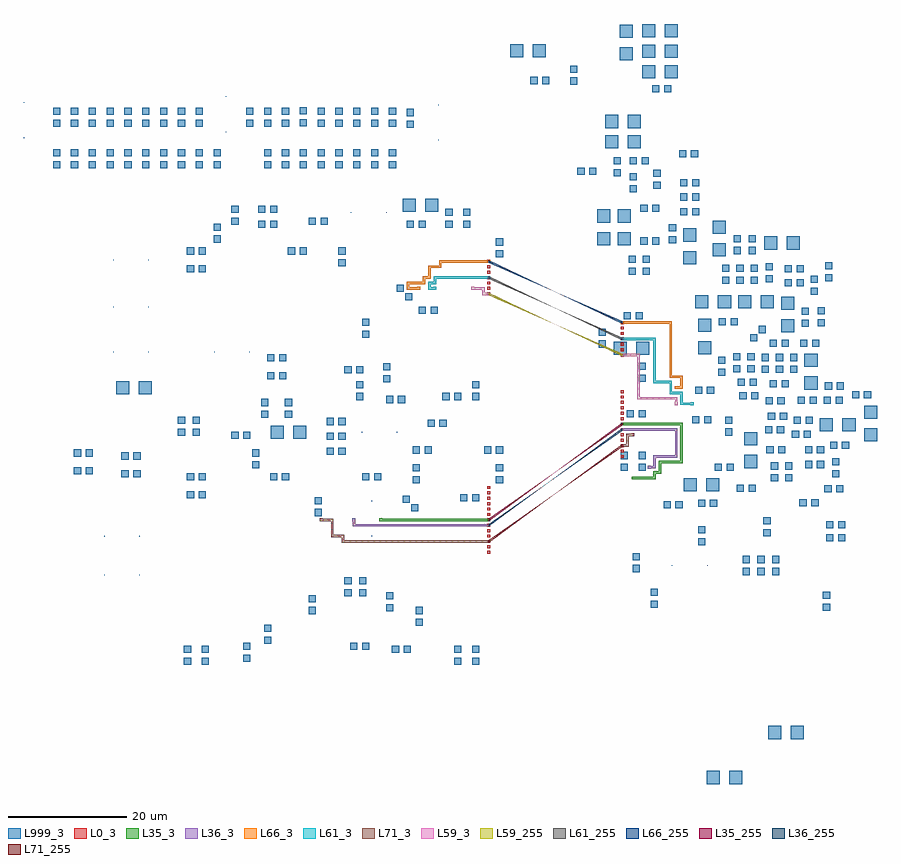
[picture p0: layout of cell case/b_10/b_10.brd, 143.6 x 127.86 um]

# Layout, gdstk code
import gdstk
lib = gdstk.Library(unit=1e-6, precision=2.5e-10)
def R(c, l, rs):  # rectangles x0, y0, x1, y1
    for r in rs: c.add(gdstk.rectangle(r[:2], r[2:], *l))
def A(c, l, x, y, w, h, nx, ny, dx, dy):  # array of equal rectangles
    R(c, l, [(x+i*dx, y+j*dy, x+i*dx+w, y+j*dy+h) for i in range(nx) for j in range(ny)])
def P(c, l, *ps):  # polygons
    for p in ps: c.add(gdstk.Polygon(p, *l))
L0_3 = (0, 3)
L35_3 = (35, 3)
L35_255 = (35, 255)
L36_3 = (36, 3)
L36_255 = (36, 255)
L59_3 = (59, 3)
L59_255 = (59, 255)
L61_3 = (61, 3)
L61_255 = (61, 255)
L66_3 = (66, 3)
L66_255 = (66, 255)
L71_3 = (71, 3)
L71_255 = (71, 255)
L999_3 = (999, 3)

case_b_10_b_10_brd = lib.new_cell('case/b_10/b_10.brd')
R(case_b_10_b_10_brd, L0_3, [(549.308,193.147,549.788,193.627), (549.308,193.147,549.788,193.627), (549.308,193.147,549.788,193.627), (549.308,194.056,549.788,194.536), (549.308,194.056,549.788,194.536), (549.308,194.056,549.788,194.536), (549.308,194.965,549.788,195.445), (549.308,194.965,549.788,195.445), (549.308,194.965,549.788,195.445), (549.308,195.874,549.788,196.354), (549.308,195.874,549.788,196.354), (549.308,195.874,549.788,196.354), (549.308,196.783,549.788,197.263), (549.308,196.783,549.788,197.263), (549.308,196.783,549.788,197.263), (549.308,197.692,549.788,198.172), (549.308,197.692,549.788,198.172), (549.308,197.692,549.788,198.172), (549.308,198.601,549.788,199.081), (549.308,198.601,549.788,199.081), (549.308,198.601,549.788,199.081), (549.308,199.51,549.788,199.99), (549.308,199.51,549.788,199.99), (549.308,199.51,549.788,199.99), (549.308,200.419,549.788,200.899), (549.308,200.419,549.788,200.899), (549.308,200.419,549.788,200.899), (549.308,201.328,549.788,201.808), (549.308,201.328,549.788,201.808), (549.308,201.328,549.788,201.808), (549.308,202.237,549.788,202.717), (549.308,202.237,549.788,202.717), (549.308,202.237,549.788,202.717), (549.308,203.146,549.788,203.626), (549.308,203.146,549.788,203.626), (549.308,203.146,549.788,203.626), (549.308,204.055,549.788,204.535), (549.308,204.055,549.788,204.535), (549.308,204.055,549.788,204.535), (571.728,209.267,572.208,209.747), (571.728,209.267,572.208,209.747), (571.728,209.267,572.208,209.747), (571.728,210.176,572.208,210.656), (571.728,210.176,572.208,210.656), (571.728,210.176,572.208,210.656), (571.728,211.085,572.208,211.565), (571.728,211.085,572.208,211.565), (571.728,211.085,572.208,211.565), (571.728,211.994,572.208,212.474), (571.728,211.994,572.208,212.474), (571.728,211.994,572.208,212.474), (571.728,212.903,572.208,213.383), (571.728,212.903,572.208,213.383), (571.728,212.903,572.208,213.383), (571.728,213.812,572.208,214.292), (571.728,213.812,572.208,214.292), (571.728,213.812,572.208,214.292), (571.728,214.721,572.208,215.201), (571.728,214.721,572.208,215.201), (571.728,214.721,572.208,215.201), (571.728,215.63,572.208,216.11), (571.728,215.63,572.208,216.11), (571.728,215.63,572.208,216.11), (571.728,216.539,572.208,217.019), (571.728,216.539,572.208,217.019), (571.728,216.539,572.208,217.019), (571.728,217.448,572.208,217.928), (571.728,217.448,572.208,217.928), (571.728,217.448,572.208,217.928), (571.728,218.357,572.208,218.837), (571.728,218.357,572.208,218.837), (571.728,218.357,572.208,218.837), (571.728,219.266,572.208,219.746), (571.728,219.266,572.208,219.746), (571.728,219.266,572.208,219.746), (571.728,220.175,572.208,220.655), (571.728,220.175,572.208,220.655), (571.728,220.175,572.208,220.655), (571.728,226.321,572.208,226.801), (571.728,226.321,572.208,226.801), (571.728,226.321,572.208,226.801), (571.728,227.23,572.208,227.71), (571.728,227.23,572.208,227.71), (571.728,227.23,572.208,227.71), (571.728,228.139,572.208,228.619), (571.728,228.139,572.208,228.619), (571.728,228.139,572.208,228.619), (571.728,229.048,572.208,229.528), (571.728,229.048,572.208,229.528), (571.728,229.048,572.208,229.528), (571.728,229.957,572.208,230.437), (571.728,229.957,572.208,230.437), (571.728,229.957,572.208,230.437), (571.728,230.866,572.208,231.346), (571.728,230.866,572.208,231.346), (571.728,230.866,572.208,231.346), (571.728,231.775,572.208,232.255), (571.728,231.775,572.208,232.255), (571.728,231.775,572.208,232.255), (549.308,236.627,549.788,237.107), (549.308,236.627,549.788,237.107), (549.308,236.627,549.788,237.107), (549.308,237.536,549.788,238.016), (549.308,237.536,549.788,238.016), (549.308,237.536,549.788,238.016), (549.308,238.445,549.788,238.925), (549.308,238.445,549.788,238.925), (549.308,238.445,549.788,238.925), (549.308,239.354,549.788,239.834), (549.308,239.354,549.788,239.834), (549.308,239.354,549.788,239.834), (549.308,240.263,549.788,240.743), (549.308,240.263,549.788,240.743), (549.308,240.263,549.788,240.743), (549.308,241.172,549.788,241.652), (549.308,241.172,549.788,241.652), (549.308,241.172,549.788,241.652), (549.308,242.081,549.788,242.561), (549.308,242.081,549.788,242.561), (549.308,242.081,549.788,242.561)])
A(case_b_10_b_10_brd, L35_3, 531.168, 198.641, 1.309, 0.4, 20, 1, 0.909, 0)
A(case_b_10_b_10_brd, L35_3, 573.586, 205.671, 1.309, 0.4, 4, 1, 0.909, 0)
A(case_b_10_b_10_brd, L35_3, 578.131, 208.398, 1.309, 0.4, 4, 1, 0.909, 0)
A(case_b_10_b_10_brd, L35_3, 581.767, 208.398, 0.4, 1.309, 1, 7, 0, 0.909)
A(case_b_10_b_10_brd, L35_3, 571.768, 214.761, 1.309, 0.4, 11, 1, 0.909, 0)
R(case_b_10_b_10_brd, L35_3, [(531.128,198.601,531.608,199.081), (573.546,205.631,574.026,206.111), (577.222,205.671,577.622,206.98), (577.222,206.58,578.531,206.98), (578.131,206.58,578.531,207.889), (578.131,207.489,578.531,208.798)])
P(case_b_10_b_10_brd, L35_255, [(571.968,214.761),(571.968,215.161),(549.548,198.641),(549.548,199.041)])
A(case_b_10_b_10_brd, L36_3, 526.623, 197.732, 1.309, 0.4, 25, 1, 0.909, 0)
A(case_b_10_b_10_brd, L36_3, 577.222, 209.307, 1.309, 0.4, 4, 1, 0.909, 0)
A(case_b_10_b_10_brd, L36_3, 580.858, 209.307, 0.4, 1.309, 1, 5, 0, 0.909)
A(case_b_10_b_10_brd, L36_3, 571.768, 213.852, 1.309, 0.4, 10, 1, 0.909, 0)
R(case_b_10_b_10_brd, L36_3, [(526.623,197.732,527.023,199.041), (526.583,198.601,527.063,199.081), (576.273,207.449,576.753,207.929), (576.313,207.489,577.622,207.889), (577.222,207.489,577.622,208.798), (577.222,208.398,577.622,209.707)])
P(case_b_10_b_10_brd, L36_255, [(571.968,213.852),(571.968,214.252),(549.548,197.732),(549.548,198.132)])
A(case_b_10_b_10_brd, L59_3, 574.495, 219.089, 1.309, 0.4, 7, 1, 0.909, 0)
A(case_b_10_b_10_brd, L59_3, 574.495, 219.089, 0.4, 1.309, 1, 8, 0, 0.909)
A(case_b_10_b_10_brd, L59_3, 571.768, 226.361, 1.309, 0.4, 3, 1, 0.909, 0)
R(case_b_10_b_10_brd, L59_3, [(580.818,218.14,581.298,218.62), (580.858,218.18,581.258,219.489), (548.439,236.667,549.748,237.067), (548.439,236.667,548.839,237.976), (546.581,237.536,547.061,238.016), (546.621,237.576,547.93,237.976), (547.53,237.576,548.839,237.976)])
P(case_b_10_b_10_brd, L59_255, [(571.968,226.361),(571.968,226.761),(549.548,236.667),(549.548,237.067)])
A(case_b_10_b_10_brd, L61_3, 577.222, 221.816, 1.309, 0.4, 3, 1, 0.909, 0)
A(case_b_10_b_10_brd, L61_3, 577.222, 221.816, 0.4, 1.309, 1, 8, 0, 0.909)
A(case_b_10_b_10_brd, L61_3, 571.768, 229.088, 1.309, 0.4, 6, 1, 0.909, 0)
A(case_b_10_b_10_brd, L61_3, 540.258, 239.394, 1.309, 0.4, 10, 1, 0.909, 0)
R(case_b_10_b_10_brd, L61_3, [(583.545,218.14,584.025,218.62), (581.767,218.18,583.076,218.58), (581.767,218.18,582.167,219.489), (582.676,218.18,583.985,218.58), (581.767,219.089,582.167,220.398), (579.949,219.998,581.258,220.398), (579.949,219.998,580.349,221.307), (580.858,219.998,582.167,220.398), (579.949,220.907,580.349,222.216), (540.218,237.536,540.698,238.016), (539.349,237.576,540.658,237.976), (539.349,237.576,539.749,238.885), (539.349,238.485,540.658,238.885), (540.258,238.485,540.658,239.794)])
P(case_b_10_b_10_brd, L61_255, [(571.968,229.088),(571.968,229.488),(549.548,239.394),(549.548,239.794)])
A(case_b_10_b_10_brd, L66_3, 579.949, 222.725, 0.4, 1.309, 1, 10, 0, 0.909)
A(case_b_10_b_10_brd, L66_3, 571.768, 231.815, 1.309, 0.4, 9, 1, 0.909, 0)
A(case_b_10_b_10_brd, L66_3, 535.713, 238.485, 1.309, 0.4, 3, 1, 0.909, 0)
A(case_b_10_b_10_brd, L66_3, 541.167, 242.121, 1.309, 0.4, 9, 1, 0.909, 0)
R(case_b_10_b_10_brd, L66_3, [(580.818,220.867,581.298,221.347), (580.858,220.907,582.167,221.307), (581.767,220.907,582.167,222.216), (581.767,221.816,582.167,223.125), (579.949,222.725,581.258,223.125), (580.858,222.725,582.167,223.125), (537.491,237.536,537.971,238.016), (535.713,237.576,537.022,237.976), (535.713,237.576,536.113,238.885), (536.622,237.576,537.931,237.976), (538.44,238.485,538.84,239.794), (538.44,239.394,539.749,239.794), (539.349,239.394,539.749,240.703), (539.349,240.303,539.749,241.612), (539.349,241.212,540.658,241.612), (540.258,241.212,541.567,241.612), (541.167,241.212,541.567,242.521)])
P(case_b_10_b_10_brd, L66_255, [(571.968,231.815),(571.968,232.215),(549.548,242.121),(549.548,242.521)])
A(case_b_10_b_10_brd, L71_3, 524.805, 195.005, 1.309, 0.4, 27, 1, 0.909, 0)
A(case_b_10_b_10_brd, L71_3, 522.987, 195.914, 0.4, 1.309, 1, 3, 0, 0.909)
R(case_b_10_b_10_brd, L71_3, [(524.805,195.005,525.205,196.314), (522.987,195.914,524.296,196.314), (523.896,195.914,525.205,196.314), (521.129,198.601,521.609,199.081), (521.169,198.641,522.478,199.041), (522.078,198.641,523.387,199.041), (571.768,211.125,573.077,211.525), (572.677,211.125,573.077,212.434), (572.677,212.034,573.077,213.343), (573.546,212.903,574.026,213.383), (572.677,212.943,573.986,213.343)])
P(case_b_10_b_10_brd, L71_255, [(571.968,211.125),(571.968,211.525),(549.548,195.005),(549.548,195.405)])
A(case_b_10_b_10_brd, L999_3, 592.236, 189.562, 1.2, 1.2, 3, 2, 2.5, 2)
A(case_b_10_b_10_brd, L999_3, 522.235, 209.782, 1.2, 1.2, 1, 3, 0, 2.5)
A(case_b_10_b_10_brd, L999_3, 524.235, 209.782, 1.201, 1.2, 1, 3, 0, 2.5)
A(case_b_10_b_10_brd, L999_3, 595.436, 223.562, 1.2, 1.2, 3, 2, 2.4, 2)
A(case_b_10_b_10_brd, L999_3, 588.786, 238.562, 1.2, 1.2, 3, 2, 2.4, 2)
A(case_b_10_b_10_brd, L999_3, 476.235, 257.982, 1.2, 1.2, 10, 2, 3, 2)
A(case_b_10_b_10_brd, L999_3, 511.735, 257.982, 1.2, 1.2, 4, 2, 3, 2)
A(case_b_10_b_10_brd, L999_3, 526.736, 257.982, 1.2, 1.2, 3, 2, 3, 2)
A(case_b_10_b_10_brd, L999_3, 476.235, 264.982, 1.2, 1.2, 9, 2, 3, 2)
A(case_b_10_b_10_brd, L999_3, 508.735, 264.982, 1.2, 1.2, 3, 2, 3, 2)
A(case_b_10_b_10_brd, L999_3, 526.736, 264.982, 1.2, 1.2, 3, 2, 3, 2)
R(case_b_10_b_10_brd, L999_3, [(586.2,154.4,588.4,156.6), (590,154.4,592.2,156.6), (596.536,161.962,598.736,164.162), (600.336,161.962,602.536,164.162), (498.235,174.482,499.435,175.682), (501.235,174.482,502.435,175.682), (543.736,174.482,544.936,175.682), (546.736,174.482,547.936,175.682), (508.235,174.982,509.435,176.182), (498.235,176.482,499.435,177.682), (501.235,176.482,502.435,177.682), (533.236,176.482,534.436,177.682), (535.236,176.482,536.436,177.682), (543.736,176.482,544.936,177.682), (546.736,176.482,547.936,177.682), (508.235,176.982,509.435,178.182), (526.236,176.982,527.436,178.182), (528.236,176.982,529.436,178.182), (511.735,177.982,512.935,179.182), (511.735,179.982,512.935,181.182), (537.236,180.982,538.436,182.182), (519.235,182.982,520.435,184.182), (537.236,182.982,538.436,184.182), (532.236,183.482,533.436,184.682), (605.736,183.562,606.936,184.762), (576.736,184.062,577.936,185.262), (519.235,184.982,520.435,186.182), (532.236,185.482,533.436,186.682), (605.736,185.562,606.936,186.762), (525.236,185.982,526.436,187.182), (527.736,185.982,528.936,187.182), (576.736,186.062,577.936,187.262), (525.236,187.982,526.436,189.182), (527.736,187.982,528.936,189.182), (484.835,189.534,484.93,189.629), (490.741,189.534,490.836,189.629), (573.736,190.062,574.936,191.262), (580.335,191.114,580.43,191.209), (586.241,191.114,586.336,191.209), (573.736,192.062,574.936,193.262), (584.736,194.562,585.936,195.762), (606.3,195.2,607.5,196.4), (608.3,195.2,609.5,196.4), (484.835,196.034,484.93,196.129), (490.741,196.034,490.836,196.129), (595.736,196.062,596.936,197.262), (529.788,196.081,529.883,196.176), (584.736,196.562,585.936,197.762), (606.3,197.4,607.5,198.6), (608.3,197.4,609.5,198.6), (595.736,198.062,596.936,199.262), (520.235,199.482,521.435,200.682), (536.443,200.275,537.643,201.475), (578.936,200.762,580.136,201.962), (580.936,200.762,582.136,201.962), (584.736,201.062,585.936,202.262), (586.736,201.062,587.936,202.262), (601.8,201.1,603,202.3), (603.8,201.1,605,202.3), (520.235,201.482,521.435,202.682), (535.029,201.689,536.229,202.889), (544.736,201.982,545.936,203.182), (546.736,201.982,547.936,203.182), (529.788,201.987,529.883,202.082), (498.735,202.482,499.935,203.682), (500.735,202.482,501.935,203.682), (606,203.5,607.2,204.7), (608,203.5,609.2,204.7), (591.236,203.562,592.436,204.762), (593.236,203.562,594.436,204.762), (582.336,203.662,584.536,205.862), (586.136,203.662,588.336,205.862), (536.736,204.982,537.936,206.182), (550.736,204.982,551.936,206.182), (597,205.3,598.2,206.5), (599.4,205.3,600.6,206.5), (498.735,205.482,499.935,206.682), (500.735,205.482,501.935,206.682), (512.735,205.482,513.935,206.682), (514.735,205.482,515.935,206.682), (528.236,205.482,529.436,206.682), (530.236,205.482,531.436,206.682), (487.735,205.982,488.935,207.182), (489.735,205.982,490.935,207.182), (607.3,206,608.5,207.2), (479.735,206.482,480.935,207.682), (481.735,206.482,482.935,207.682), (536.736,206.982,537.936,208.182), (550.736,206.982,551.936,208.182), (571.736,207.062,572.936,208.262), (574.736,207.062,575.936,208.262), (587.536,207.062,588.736,208.262), (589.536,207.062,590.736,208.262), (597,207.3,598.2,208.5), (599.4,207.3,600.6,208.5), (509.735,207.482,510.935,208.682), (592.536,207.562,594.736,209.762), (602.736,207.562,603.936,208.762), (604.736,207.562,605.936,208.762), (607.3,208,608.5,209.2), (487.735,208.982,488.935,210.182), (489.735,208.982,490.935,210.182), (571.736,209.062,572.936,210.262), (574.736,209.062,575.936,210.262), (479.735,209.482,480.935,210.682), (481.735,209.482,482.935,210.682), (509.735,209.482,510.935,210.682), (536.736,209.982,537.936,211.182), (538.736,209.982,539.936,211.182), (548.736,209.982,549.936,211.182), (550.736,209.982,551.936,211.182), (596.236,210.062,597.436,211.262), (598.236,210.062,599.436,211.262), (602.736,210.062,603.936,211.262), (604.736,210.062,605.936,211.262), (606.936,210.812,608.136,212.012), (608.936,210.812,610.136,212.012), (592.536,211.362,594.736,213.562), (612.686,212.062,614.886,214.262), (506.235,212.482,507.435,213.682), (508.235,212.482,509.435,213.682), (512.835,212.482,515.035,214.682), (516.635,212.482,518.835,214.682), (600.536,212.612,601.736,213.812), (602.536,212.612,603.736,213.812), (497.235,212.982,498.435,214.182), (499.735,212.982,500.935,214.182), (589.286,213.012,590.486,214.212), (596,213.4,597.2,214.6), (598,213.4,599.2,214.6), (528.135,213.534,528.23,213.629), (534.041,213.534,534.136,213.629), (605.236,213.762,607.436,215.962), (609.036,213.762,611.236,215.962), (539.236,214.482,540.436,215.682), (541.236,214.482,542.436,215.682), (497.235,214.982,498.435,216.182), (499.735,214.982,500.935,216.182), (589.286,215.012,590.486,216.212), (600.836,215.012,602.036,216.212), (602.836,215.012,604.036,216.212), (583.736,215.062,584.936,216.262), (585.736,215.062,586.936,216.262), (596.5,215.7,597.7,216.9), (598.5,215.7,599.7,216.9), (612.686,215.862,614.886,218.062), (511.235,215.982,512.435,217.182), (515.235,215.982,516.435,217.182), (572.736,216.062,573.936,217.262), (574.736,216.062,575.936,217.262), (511.235,217.982,512.435,219.182), (515.235,217.982,516.435,219.182), (596.086,218.262,597.286,219.462), (598.086,218.262,599.286,219.462), (601.486,218.362,602.686,219.562), (603.486,218.362,604.686,219.562), (605.886,218.362,607.086,219.562), (607.886,218.362,609.086,219.562), (532.236,218.482,533.436,219.682), (534.236,218.482,535.436,219.682), (527.236,218.982,528.436,220.182), (541.736,218.982,542.936,220.182), (543.736,218.982,544.936,220.182), (546.736,218.982,547.936,220.182), (591.7,219.1,592.9,220.3), (593.7,219.1,594.9,220.3), (610.636,219.262,611.836,220.462), (612.636,219.262,613.836,220.462), (486.835,219.982,489.035,222.182), (490.635,219.982,492.835,222.182), (584.236,220.062,585.436,221.262), (586.236,220.062,587.436,221.262), (602.636,220.762,604.836,222.962), (606.086,220.762,607.286,221.962), (608.086,220.762,609.286,221.962), (527.236,220.982,528.436,222.182), (546.736,220.982,547.936,222.182), (596.786,221.162,597.986,222.362), (598.786,221.162,599.986,222.362), (591.4,221.4,592.6,222.6), (593.4,221.4,594.6,222.6), (531.736,221.982,532.936,223.182), (574.736,222.062,575.936,223.262), (512.235,222.482,513.435,223.682), (514.235,222.482,515.435,223.682), (588.136,223.062,589.336,224.262), (525.236,223.482,526.436,224.682), (527.236,223.482,528.436,224.682), (590.636,223.662,591.836,224.862), (593.036,223.662,594.236,224.862), (531.736,223.982,532.936,225.182), (574.736,224.062,575.936,225.262), (602.636,224.562,604.836,226.762), (588.136,225.062,589.336,226.262), (512.235,225.482,513.435,226.682), (514.235,225.482,515.435,226.682), (590.636,225.662,591.836,226.862), (593.036,225.662,594.236,226.862), (570.544,226.63,572.744,228.83), (574.344,226.63,576.544,228.83), (584.736,226.662,586.936,228.862), (486.335,227.034,486.43,227.129), (492.241,227.034,492.336,227.129), (503.335,227.034,503.43,227.129), (509.241,227.034,509.336,227.129), (568.044,227.83,569.244,229.03), (596.786,227.962,597.986,229.162), (598.786,227.962,599.986,229.162), (601.936,227.962,603.136,229.162), (603.936,227.962,605.136,229.162), (593.529,228.855,594.729,230.055), (528.236,229.482,529.436,230.682), (568.044,229.83,569.244,231.03), (594.943,230.269,596.143,231.469), (598.736,230.362,600.936,232.562), (584.736,230.462,586.936,232.662), (602.186,231.312,603.386,232.512), (604.886,231.412,606.086,232.612), (528.236,231.482,529.436,232.682), (588.236,231.562,589.436,232.762), (590.236,231.562,591.436,232.762), (572.236,232.562,573.436,233.762), (574.236,232.562,575.436,233.762), (602.186,233.312,603.386,234.512), (604.886,233.412,606.086,234.612), (537.736,233.482,538.936,234.682), (539.736,233.482,540.936,234.682), (598.736,234.162,600.936,236.362), (584.286,234.412,586.486,236.612), (588.086,234.412,590.286,236.612), (591.486,234.412,593.686,236.612), (595.286,234.412,597.486,236.612), (486.335,234.614,486.43,234.709), (492.241,234.614,492.336,234.709), (535.443,235.775,536.643,236.975), (603.7,236.7,604.9,237.9), (534.029,237.189,535.229,238.389), (599.3,238.1,600.5,239.3), (601.3,238.1,602.5,239.3), (603.7,238.7,604.9,239.9), (596.1,238.8,597.3,240), (606.1,239,607.3,240.2), (573.036,240.062,574.236,241.262), (575.436,240.062,576.636,241.262), (498.735,240.482,499.935,241.682), (500.735,240.482,501.935,241.682), (599.3,240.5,600.5,241.7), (601.3,240.5,602.5,241.7), (596.1,240.8,597.3,242), (606.1,241,607.3,242.2), (524.235,241.482,525.436,242.682), (582.236,241.862,584.436,244.062), (573.036,242.062,574.236,243.262), (575.436,242.062,576.636,243.262), (486.335,242.534,486.43,242.629), (492.241,242.534,492.336,242.629), (550.736,242.982,551.936,244.182), (587.236,243.162,589.436,245.362), (498.735,243.482,499.935,244.682), (500.735,243.482,501.935,244.682), (515.735,243.482,516.935,244.682), (517.735,243.482,518.935,244.682), (524.235,243.482,525.436,244.682), (590.736,243.562,591.936,244.762), (593.236,243.562,594.436,244.762), (595.836,244.312,598.036,246.512), (599.636,244.312,601.836,246.512), (550.736,244.982,551.936,246.182), (567.736,245.062,569.936,247.262), (571.236,245.062,573.436,247.262), (575.036,245.162,576.236,246.362), (577.036,245.162,578.236,246.362), (579.836,245.362,581.036,246.562), (503.235,245.482,504.435,246.682), (590.736,245.562,591.936,246.762), (593.236,245.562,594.436,246.762), (582.236,245.662,584.436,247.862), (587.236,246.962,589.436,249.162), (579.836,247.362,581.036,248.562), (503.235,247.482,504.435,248.682), (510.735,247.982,511.935,249.182), (512.735,247.982,513.935,249.182), (535.736,247.982,536.936,249.182), (537.736,247.982,538.936,249.182), (542.236,247.982,543.436,249.182), (545.236,247.982,546.436,249.182), (506.235,248.482,507.435,249.682), (519.235,248.482,520.435,249.682), (521.235,248.482,522.435,249.682), (567.736,248.862,569.936,251.062), (571.236,248.862,573.436,251.062), (542.236,249.982,543.436,251.182), (545.236,249.982,546.436,251.182), (581.736,250.062,582.936,251.262), (583.736,250.062,584.936,251.262), (506.235,250.482,507.435,251.682), (510.735,250.482,511.935,251.682), (512.735,250.482,513.935,251.682), (526.335,250.534,526.43,250.629), (532.241,250.534,532.336,250.629), (535.036,250.662,537.236,252.862), (538.836,250.662,541.036,252.862), (575.036,250.662,576.236,251.862), (577.036,250.662,578.236,251.862), (581.736,252.562,582.936,253.762), (583.736,252.562,584.936,253.762), (573.236,253.962,574.436,255.162), (577.236,254.562,578.436,255.762), (581.736,254.962,582.936,256.162), (583.736,254.962,584.936,256.162), (573.236,255.962,574.436,257.162), (577.236,256.562,578.436,257.762), (570.536,256.662,571.736,257.862), (564.436,256.862,565.636,258.062), (566.436,256.862,567.636,258.062), (523.735,257.982,524.936,259.182), (570.536,258.662,571.736,259.862), (573.236,258.662,574.436,259.862), (575.236,258.662,576.436,259.862), (581.536,259.862,582.736,261.062), (583.536,259.862,584.736,261.062), (523.735,259.982,524.936,261.182), (569.136,261.362,571.336,263.562), (572.936,261.362,575.136,263.562), (541.052,262.699,541.147,262.794), (471.288,263.081,471.383,263.176), (505.288,264.081,505.383,264.176), (569.136,264.762,571.336,266.962), (572.936,264.762,575.136,266.962), (535.736,264.782,536.936,265.982), (520.735,264.982,521.935,266.182), (523.735,264.982,524.936,266.182), (517.735,265.062,518.935,266.262), (535.736,266.782,536.936,267.982), (520.735,266.982,521.935,268.182), (523.735,266.982,524.936,268.182), (517.735,267.062,518.935,268.262), (541.052,268.605,541.147,268.7), (471.288,268.987,471.383,269.082), (505.288,269.987,505.383,270.082), (577.036,270.762,578.236,271.962), (579.036,270.762,580.236,271.962), (563.236,272.062,564.436,273.262), (556.536,272.162,557.736,273.362), (558.536,272.162,559.736,273.362), (575.336,273.162,577.536,275.362), (579.136,273.162,581.336,275.362), (563.236,274.062,564.436,275.262), (571.536,276.162,573.736,278.362), (575.336,276.562,577.536,278.762), (579.136,276.562,581.336,278.762), (553.136,276.662,555.336,278.862), (556.936,276.662,559.136,278.862), (571.536,279.962,573.736,282.162), (575.336,280.062,577.536,282.262), (579.136,280.062,581.336,282.262)])

lib.write_gds('case_b_10_b_10.brd.gds')
